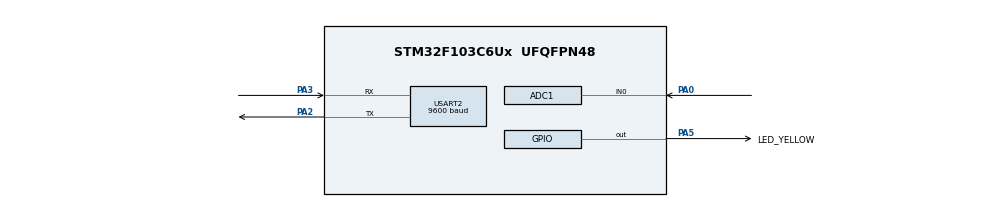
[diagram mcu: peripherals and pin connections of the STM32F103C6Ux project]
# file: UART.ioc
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ADC1.Channel-0\#ChannelRegularConversion=ADC_CHANNEL_0
ADC1.ContinuousConvMode=ENABLE
ADC1.NbrOfConversionFlag=1
ADC1.Rank-0\#ChannelRegularConversion=1
ADC1.SamplingTime-0\#ChannelRegularConversion=ADC_SAMPLETIME_1CYCLE_5
ADC1.master=1
Mcu.Family=STM32F1
Mcu.Name=STM32F103C6Ux
Mcu.Package=UFQFPN48
NVIC.PriorityGroup=NVIC_PRIORITYGROUP_4
NVIC.TIM2_IRQn=true\:0\:0\:false\:false\:true\:true\:true
NVIC.USART2_IRQn=true\:0\:0\:false\:false\:true\:true\:true
PA0-WKUP.Signal=ADCx_IN0
PA2.Mode=Asynchronous
PA2.Signal=USART2_TX
PA3.Mode=Asynchronous
PA3.Signal=USART2_RX
PA5.GPIO_Label=LED_YELLOW
PA5.Signal=GPIO_Output
ProjectManager.HeapSize=0x200
ProjectManager.StackSize=0x400
ProjectManager.TargetToolchain=STM32CubeIDE
RCC.APB1Freq_Value=8000000
RCC.APB2Freq_Value=8000000
SH.ADCx_IN0.0=ADC1_IN0,IN0
TIM2.Period=9
TIM2.Prescaler=7999
USART2.BaudRate=9600
USART2.VirtualMode=VM_ASYNC
VP_SYS_VS_ND.Mode=No_Debug
VP_TIM2_VS_ClockSourceINT.Mode=Internal
board=custom

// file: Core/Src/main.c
/* USER CODE BEGIN Header */
/**
  ******************************************************************************
  * @file           : main.c
  * @brief          : Main program body
  ******************************************************************************
  * @attention
  *
  * <h2><center>&copy; Copyright (c) 2023 STMicroelectronics.
  * All rights reserved.</center></h2>
  *
  * This software component is licensed by ST under BSD 3-Clause license,
  * the "License"; You may not use this file except in compliance with the
  * License. You may obtain a copy of the License at:
  *                        opensource.org/licenses/BSD-3-Clause
  *
  ******************************************************************************
  */
/* USER CODE END Header */
#include "main.h"

/* USER CODE BEGIN Includes */
#include "global.h"
#include "software_timer.h"
#include <stdio.h>
#include <string.h>
#include "uart_communication_fsm.h"
/* USER CODE END Includes */

ADC_HandleTypeDef hadc1;

TIM_HandleTypeDef htim2;

UART_HandleTypeDef huart2;

void SystemClock_Config(void);
static void MX_GPIO_Init(void);
static void MX_ADC1_Init(void);
static void MX_USART2_UART_Init(void);
static void MX_TIM2_Init(void);

/* USER CODE BEGIN 0 */

void HAL_UART_RxCpltCallback(UART_HandleTypeDef *huart){
	if(huart->Instance == USART2){
		HAL_UART_Transmit(&huart2,&temp,1,50);
		HAL_UART_Receive_IT(&huart2, &temp, 1);
		switch (temp) {
			case ' ':
				break;
			case '\b':
				buffer[index_buffer - 1] = 0;
				index_buffer--;
				break;
			default:
				buffer[index_buffer++] = temp;
				buffer_flag = 1;
				break;
		}

  }
}

/* USER CODE END 0 */

int main(void)
{

  /* MCU Configuration--------------------------------------------------------*/

  /* Reset of all peripherals, Initializes the Flash interface and the Systick. */
  HAL_Init();

  /* Configure the system clock */
  SystemClock_Config();

  /* Initialize all configured peripherals */
  MX_GPIO_Init();
  MX_ADC1_Init();
  MX_USART2_UART_Init();
  MX_TIM2_Init();
  /* USER CODE BEGIN 2 */
  HAL_ADC_Start(&hadc1);
  HAL_TIM_Base_Start_IT (&htim2 );
  //HAL_UART_Receive(&huart2, &temp, 1, 10);
  HAL_UART_Receive_IT (&huart2 , &temp , 1);
  /* USER CODE END 2 */

  /* Infinite loop */
  /* USER CODE BEGIN WHILE */
  setTimer1(100);
  setTimer2(10);
  setTimer3(10);
  setTimer4(10);
  command_state = IDLE;
  status_UART = COMMAND_WATING;
  while (1)
  {
    /* USER CODE END WHILE */
	  if(timer1_flag == 1){
		  HAL_GPIO_TogglePin(LED_YELLOW_GPIO_Port, LED_YELLOW_Pin);
		  setTimer1(100);
	  }
	if(buffer_flag == 1) {
		  command_parser_fsm ();
		  buffer_flag =0;
	}
	uart_communication_fsm();

  }
}

void SystemClock_Config(void)
{
  RCC_OscInitTypeDef RCC_OscInitStruct = {0};
  RCC_ClkInitTypeDef RCC_ClkInitStruct = {0};
  RCC_PeriphCLKInitTypeDef PeriphClkInit = {0};

  /** Initializes the RCC Oscillators according to the specified parameters
  * in the RCC_OscInitTypeDef structure.
  */
  RCC_OscInitStruct.OscillatorType = RCC_OSCILLATORTYPE_HSI;
  RCC_OscInitStruct.HSIState = RCC_HSI_ON;
  RCC_OscInitStruct.HSICalibrationValue = RCC_HSICALIBRATION_DEFAULT;
  RCC_OscInitStruct.PLL.PLLState = RCC_PLL_NONE;
  if (HAL_RCC_OscConfig(&RCC_OscInitStruct) != HAL_OK)
  {
    Error_Handler();
  }
  /** Initializes the CPU, AHB and APB buses clocks
  */
  RCC_ClkInitStruct.ClockType = RCC_CLOCKTYPE_HCLK|RCC_CLOCKTYPE_SYSCLK
                              |RCC_CLOCKTYPE_PCLK1|RCC_CLOCKTYPE_PCLK2;
  RCC_ClkInitStruct.SYSCLKSource = RCC_SYSCLKSOURCE_HSI;
  RCC_ClkInitStruct.AHBCLKDivider = RCC_SYSCLK_DIV1;
  RCC_ClkInitStruct.APB1CLKDivider = RCC_HCLK_DIV1;
  RCC_ClkInitStruct.APB2CLKDivider = RCC_HCLK_DIV1;

  if (HAL_RCC_ClockConfig(&RCC_ClkInitStruct, FLASH_LATENCY_0) != HAL_OK)
  {
    Error_Handler();
  }
  PeriphClkInit.PeriphClockSelection = RCC_PERIPHCLK_ADC;
  PeriphClkInit.AdcClockSelection = RCC_ADCPCLK2_DIV2;
  if (HAL_RCCEx_PeriphCLKConfig(&PeriphClkInit) != HAL_OK)
  {
    Error_Handler();
  }
}

static void MX_ADC1_Init(void)
{

  ADC_ChannelConfTypeDef sConfig = {0};

  /** Common config
  */
  hadc1.Instance = ADC1;
  hadc1.Init.ScanConvMode = ADC_SCAN_DISABLE;
  hadc1.Init.ContinuousConvMode = ENABLE;
  hadc1.Init.DiscontinuousConvMode = DISABLE;
  hadc1.Init.ExternalTrigConv = ADC_SOFTWARE_START;
  hadc1.Init.DataAlign = ADC_DATAALIGN_RIGHT;
  hadc1.Init.NbrOfConversion = 1;
  if (HAL_ADC_Init(&hadc1) != HAL_OK)
  {
    Error_Handler();
  }
  /** Configure Regular Channel
  */
  sConfig.Channel = ADC_CHANNEL_0;
  sConfig.Rank = ADC_REGULAR_RANK_1;
  sConfig.SamplingTime = ADC_SAMPLETIME_1CYCLE_5;
  if (HAL_ADC_ConfigChannel(&hadc1, &sConfig) != HAL_OK)
  {
    Error_Handler();
  }

}

static void MX_TIM2_Init(void)
{

  TIM_ClockConfigTypeDef sClockSourceConfig = {0};
  TIM_MasterConfigTypeDef sMasterConfig = {0};

  htim2.Instance = TIM2;
  htim2.Init.Prescaler = 7999;
  htim2.Init.CounterMode = TIM_COUNTERMODE_UP;
  htim2.Init.Period = 9;
  htim2.Init.ClockDivision = TIM_CLOCKDIVISION_DIV1;
  htim2.Init.AutoReloadPreload = TIM_AUTORELOAD_PRELOAD_DISABLE;
  if (HAL_TIM_Base_Init(&htim2) != HAL_OK)
  {
    Error_Handler();
  }
  sClockSourceConfig.ClockSource = TIM_CLOCKSOURCE_INTERNAL;
  if (HAL_TIM_ConfigClockSource(&htim2, &sClockSourceConfig) != HAL_OK)
  {
    Error_Handler();
  }
  sMasterConfig.MasterOutputTrigger = TIM_TRGO_RESET;
  sMasterConfig.MasterSlaveMode = TIM_MASTERSLAVEMODE_DISABLE;
  if (HAL_TIMEx_MasterConfigSynchronization(&htim2, &sMasterConfig) != HAL_OK)
  {
    Error_Handler();
  }

}

static void MX_USART2_UART_Init(void)
{

  huart2.Instance = USART2;
  huart2.Init.BaudRate = 9600;
  huart2.Init.WordLength = UART_WORDLENGTH_8B;
  huart2.Init.StopBits = UART_STOPBITS_1;
  huart2.Init.Parity = UART_PARITY_NONE;
  huart2.Init.Mode = UART_MODE_TX_RX;
  huart2.Init.HwFlowCtl = UART_HWCONTROL_NONE;
  huart2.Init.OverSampling = UART_OVERSAMPLING_16;
  if (HAL_UART_Init(&huart2) != HAL_OK)
  {
    Error_Handler();
  }

}

static void MX_GPIO_Init(void)
{
  GPIO_InitTypeDef GPIO_InitStruct = {0};

  /* GPIO Ports Clock Enable */
  __HAL_RCC_GPIOA_CLK_ENABLE();

  /*Configure GPIO pin Output Level */
  HAL_GPIO_WritePin(LED_YELLOW_GPIO_Port, LED_YELLOW_Pin, GPIO_PIN_RESET);

  /*Configure GPIO pin : LED_YELLOW_Pin */
  GPIO_InitStruct.Pin = LED_YELLOW_Pin;
  GPIO_InitStruct.Mode = GPIO_MODE_OUTPUT_PP;
  GPIO_InitStruct.Pull = GPIO_NOPULL;
  GPIO_InitStruct.Speed = GPIO_SPEED_FREQ_LOW;
  HAL_GPIO_Init(LED_YELLOW_GPIO_Port, &GPIO_InitStruct);

}

/* USER CODE BEGIN 4 */
void HAL_TIM_PeriodElapsedCallback(TIM_HandleTypeDef *htim){
	timerRun();
//	if (htim->Instance == TIM2) {
//		//timestamp++; // increase timestamp by 10ms
//		timerRun();
//	}

}
/* USER CODE END 4 */

void Error_Handler(void)
{
  __disable_irq();
  while (1)
  {
  }
}

/************************ (C) COPYRIGHT STMicroelectronics *****END OF FILE****/
